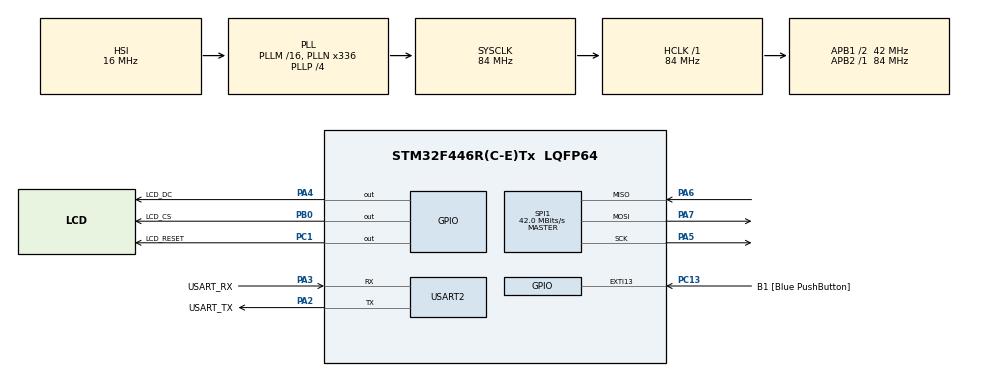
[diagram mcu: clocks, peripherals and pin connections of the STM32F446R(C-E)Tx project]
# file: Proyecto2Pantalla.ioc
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Mcu.Family=STM32F4
Mcu.Name=STM32F446R(C-E)Tx
Mcu.Package=LQFP64
NVIC.PriorityGroup=NVIC_PRIORITYGROUP_0
NVIC.USART2_IRQn=true\:0\:0\:false\:false\:true\:true\:true\:true
PA13.GPIO_Label=TMS
PA13.Mode=Serial_Wire
PA13.Signal=SYS_JTMS-SWDIO
PA14.GPIO_Label=TCK
PA14.Mode=Serial_Wire
PA14.Signal=SYS_JTCK-SWCLK
PA2.GPIO_Label=USART_TX
PA2.Mode=Asynchronous
PA2.Signal=USART2_TX
PA3.GPIO_Label=USART_RX
PA3.Mode=Asynchronous
PA3.Signal=USART2_RX
PA4.GPIO_Label=LCD_DC
PA4.Signal=GPIO_Output
PA5.Mode=Full_Duplex_Master
PA5.Signal=SPI1_SCK
PA6.Mode=Full_Duplex_Master
PA6.Signal=SPI1_MISO
PA7.Mode=Full_Duplex_Master
PA7.Signal=SPI1_MOSI
PB0.GPIO_Label=LCD_CS
PB0.Signal=GPIO_Output
PB3.GPIO_Label=SWO
PB3.Signal=SYS_JTDO-SWO
PC1.GPIO_Label=LCD_RESET
PC1.Signal=GPIO_Output
PC13.GPIO_Label=B1 [Blue PushButton]
PC13.GPIO_ModeDefaultEXTI=GPIO_MODE_IT_FALLING
PC13.Signal=GPXTI13
PC14-OSC32_IN.Mode=LSE-External-Oscillator
PC14-OSC32_IN.Signal=RCC_OSC32_IN
PC15-OSC32_OUT.Mode=LSE-External-Oscillator
PC15-OSC32_OUT.Signal=RCC_OSC32_OUT
PH0-OSC_IN.Mode=HSE-External-Oscillator
PH0-OSC_IN.Signal=RCC_OSC_IN
PH1-OSC_OUT.Mode=HSE-External-Oscillator
PH1-OSC_OUT.Signal=RCC_OSC_OUT
ProjectManager.HeapSize=0x200
ProjectManager.StackSize=0x400
ProjectManager.TargetToolchain=STM32CubeIDE
RCC.48MHZClocksFreq_Value=84000000
RCC.AHBFreq_Value=84000000
RCC.APB1CLKDivider=RCC_HCLK_DIV2
RCC.APB1Freq_Value=42000000
RCC.APB1TimFreq_Value=84000000
RCC.APB2Freq_Value=84000000
RCC.APB2TimFreq_Value=84000000
RCC.CortexFreq_Value=84000000
RCC.FLatency-AdvancedSettings=FLASH_LATENCY_2
RCC.HCLKFreq_Value=84000000
RCC.HSE_VALUE=8000000
RCC.HSI_VALUE=16000000
RCC.PLLN=336
RCC.PLLP=RCC_PLLP_DIV4
RCC.SYSCLKFreq_VALUE=84000000
RCC.SYSCLKSource=RCC_SYSCLKSOURCE_PLLCLK
RCC.USBFreq_Value=168000000
RCC.VCOOutputFreq_Value=336000000
SPI1.CalculateBaudRate=42.0 MBits/s
SPI1.Direction=SPI_DIRECTION_2LINES
SPI1.Mode=SPI_MODE_MASTER
SPI1.VirtualType=VM_MASTER
USART2.VirtualMode=VM_ASYNC
board=NUCLEO-F446RE

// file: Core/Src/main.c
/* USER CODE BEGIN Header */
/**
  ******************************************************************************
  * @file           : main.c
  * @brief          : Main program body
  ******************************************************************************
  * @attention
  *
  * Copyright (c) 2026 STMicroelectronics.
  * All rights reserved.
  *
  * This software is licensed under terms that can be found in the LICENSE file
  * in the root directory of this software component.
  * If no LICENSE file comes with this software, it is provided AS-IS.
  *
  ******************************************************************************
  */
/* USER CODE END Header */
#include "main.h"

/* USER CODE BEGIN Includes */
#include "ili9341.h"
#include "bitmaps.h"
#include <string.h>
#include <stdio.h>
/* USER CODE END Includes */

SPI_HandleTypeDef hspi1;

UART_HandleTypeDef huart2;

/* USER CODE BEGIN PV */
uint8_t bufferR[20];
uint8_t rxByte;
uint8_t rxIndex = 0;
uint8_t F_Start = 0;
uint8_t M1_F = 0;
uint8_t blqT[] = {32,192,64,16};

struct P_objeto {
	uint16_t px;
	uint8_t py;
	uint8_t w;
	uint8_t h;
};

struct P_objeto j1;
struct P_objeto j1o;
struct P_objeto blq1_j1;
struct P_objeto par1;
struct P_objeto par2;
struct P_objeto par3;
struct P_objeto par4;
struct P_objeto blq2_j1;
struct P_objeto blq3_j1;
struct P_objeto blq4_j1;
struct P_objeto blq5_j1;
struct P_objeto blq6_j1;
struct P_objeto blq7_j1;
struct P_objeto blq8_j1;
struct P_objeto blq9_j1;
struct P_objeto blq10_j1;
struct P_objeto blq11_j1;
struct P_objeto blq12_j1;
struct P_objeto blq13_j1;
struct P_objeto blq14_j1;
struct P_objeto blq15_j1;
struct P_objeto blq16_j1;
struct P_objeto blq17_j1;

/* USER CODE END PV */

void SystemClock_Config(void);
static void MX_GPIO_Init(void);
static void MX_SPI1_Init(void);
static void MX_USART2_UART_Init(void);
/* USER CODE BEGIN PFP */
uint8_t ColCheck(struct P_objeto ob1, struct P_objeto ob2);
/* USER CODE END PFP */

int main(void)
{

  /* USER CODE BEGIN 1 */

	j1.px = 128;
	j1.py = 208;
	j1.w = 16;
	j1.h = 16;

	j1o.px = 128;
	j1o.py = 208;
	j1o.w = 16;
	j1o.h = 16;

	blq1_j1.px = 32;
	blq1_j1.py = 192;
	blq1_j1.w = 64;
	blq1_j1.h = 16;

	blq2_j1.px = 64;
	blq2_j1.py = 176;
	blq2_j1.w = 64;
	blq2_j1.h = 16;

	blq3_j1.px = 64;
	blq3_j1.py = 160;
	blq3_j1.w = 16;
	blq3_j1.h = 16;

	blq4_j1.px = 32;
	blq4_j1.py = 128;
	blq4_j1.w = 16;
	blq4_j1.h = 48;

	blq5_j1.px = 48;
	blq5_j1.py = 128;
	blq5_j1.w = 16;
	blq5_j1.h = 16;

	blq6_j1.px = 80;
	blq6_j1.py = 144;
	blq6_j1.w = 48;
	blq6_j1.h = 16;

	blq7_j1.px = 112;
	blq7_j1.py = 112;
	blq7_j1.w = 16;
	blq7_j1.h = 48;

	blq8_j1.px = 64;
	blq8_j1.py = 96;
	blq8_j1.w = 16;
	blq8_j1.h = 48;

	blq9_j1.px = 32;
	blq9_j1.py = 80;
	blq9_j1.w = 16;
	blq9_j1.h = 32;

	blq10_j1.px = 48;
	blq10_j1.py = 80;
	blq10_j1.w = 16;
	blq10_j1.h = 16;

	blq11_j1.px = 80;
	blq11_j1.py = 80;
	blq11_j1.w = 16;
	blq11_j1.h = 48;

	blq12_j1.px = 96;
	blq12_j1.py = 80;
	blq12_j1.w = 32;
	blq12_j1.h = 16;

	blq13_j1.px = 112;
	blq13_j1.py = 48;
	blq13_j1.w = 16;
	blq13_j1.h = 32;

	blq14_j1.px = 128;
	blq14_j1.py = 32;
	blq14_j1.w = 16;
	blq14_j1.h = 16;

	blq15_j1.px = 32;
	blq15_j1.py = 48;
	blq15_j1.w = 64;
	blq15_j1.h = 16;

	blq16_j1.px = 32;
	blq16_j1.py = 16;
	blq16_j1.w = 80;
	blq16_j1.h = 16;

	blq17_j1.px = 80;
	blq17_j1.py = 32;
	blq17_j1.w = 16;
	blq17_j1.h = 16;

	par1.px = 0;
	par1.py = 0;
	par1.w = 144;
	par1.h = 16;

	par2.px = 0;
	par2.py = 16;
	par2.w = 16;
	par2.h = 208;

	par3.px = 0;
	par3.py = 224;
	par3.w = 144;
	par3.h = 16;

	par4.px = 144;
	par4.py = 0;
	par4.w = 32;
	par4.h = 240;
  /* USER CODE END 1 */

  /* MCU Configuration--------------------------------------------------------*/

  /* Reset of all peripherals, Initializes the Flash interface and the Systick. */
  HAL_Init();

  /* Configure the system clock */
  SystemClock_Config();

  /* Initialize all configured peripherals */
  MX_GPIO_Init();
  MX_SPI1_Init();
  MX_USART2_UART_Init();
  /* USER CODE BEGIN 2 */
  LCD_Init();

  LCD_Clear(0x00);

  LCD_Bitmap(0, 0, 320, 240, niv1);

  HAL_UART_Receive_IT(&huart2, &rxByte, 1);

  /* USER CODE END 2 */

  /* Infinite loop */
  while (1)
  {

    /* USER CODE BEGIN 3 */
	  if (F_Start == 1)
	  {
		  LCD_Bitmap(0, 0, 320, 240, israel);
		  F_Start = 0;
	  }
	  LCD_Sprite(j1.px, j1.py, 16, 16, slime, 1, 1, 0, 0);
	  if (M1_F == 1)
	  {
		  LCD_Bitmap(j1o.px, j1o.py, 16, 16, tile);
		  j1o.px = j1.px;
		  j1o.py = j1.py;
		  M1_F = 0;
	  }
  }
  /* USER CODE END 3 */
}

void SystemClock_Config(void)
{
  RCC_OscInitTypeDef RCC_OscInitStruct = {0};
  RCC_ClkInitTypeDef RCC_ClkInitStruct = {0};

  /** Configure the main internal regulator output voltage
  */
  __HAL_RCC_PWR_CLK_ENABLE();
  __HAL_PWR_VOLTAGESCALING_CONFIG(PWR_REGULATOR_VOLTAGE_SCALE3);

  /** Initializes the RCC Oscillators according to the specified parameters
  * in the RCC_OscInitTypeDef structure.
  */
  RCC_OscInitStruct.OscillatorType = RCC_OSCILLATORTYPE_HSI;
  RCC_OscInitStruct.HSIState = RCC_HSI_ON;
  RCC_OscInitStruct.HSICalibrationValue = RCC_HSICALIBRATION_DEFAULT;
  RCC_OscInitStruct.PLL.PLLState = RCC_PLL_ON;
  RCC_OscInitStruct.PLL.PLLSource = RCC_PLLSOURCE_HSI;
  RCC_OscInitStruct.PLL.PLLM = 16;
  RCC_OscInitStruct.PLL.PLLN = 336;
  RCC_OscInitStruct.PLL.PLLP = RCC_PLLP_DIV4;
  RCC_OscInitStruct.PLL.PLLQ = 2;
  RCC_OscInitStruct.PLL.PLLR = 2;
  if (HAL_RCC_OscConfig(&RCC_OscInitStruct) != HAL_OK)
  {
    Error_Handler();
  }

  /** Initializes the CPU, AHB and APB buses clocks
  */
  RCC_ClkInitStruct.ClockType = RCC_CLOCKTYPE_HCLK|RCC_CLOCKTYPE_SYSCLK
                              |RCC_CLOCKTYPE_PCLK1|RCC_CLOCKTYPE_PCLK2;
  RCC_ClkInitStruct.SYSCLKSource = RCC_SYSCLKSOURCE_PLLCLK;
  RCC_ClkInitStruct.AHBCLKDivider = RCC_SYSCLK_DIV1;
  RCC_ClkInitStruct.APB1CLKDivider = RCC_HCLK_DIV2;
  RCC_ClkInitStruct.APB2CLKDivider = RCC_HCLK_DIV1;

  if (HAL_RCC_ClockConfig(&RCC_ClkInitStruct, FLASH_LATENCY_2) != HAL_OK)
  {
    Error_Handler();
  }
}

static void MX_SPI1_Init(void)
{

  /* SPI1 parameter configuration*/
  hspi1.Instance = SPI1;
  hspi1.Init.Mode = SPI_MODE_MASTER;
  hspi1.Init.Direction = SPI_DIRECTION_2LINES;
  hspi1.Init.DataSize = SPI_DATASIZE_8BIT;
  hspi1.Init.CLKPolarity = SPI_POLARITY_LOW;
  hspi1.Init.CLKPhase = SPI_PHASE_1EDGE;
  hspi1.Init.NSS = SPI_NSS_SOFT;
  hspi1.Init.BaudRatePrescaler = SPI_BAUDRATEPRESCALER_2;
  hspi1.Init.FirstBit = SPI_FIRSTBIT_MSB;
  hspi1.Init.TIMode = SPI_TIMODE_DISABLE;
  hspi1.Init.CRCCalculation = SPI_CRCCALCULATION_DISABLE;
  hspi1.Init.CRCPolynomial = 10;
  if (HAL_SPI_Init(&hspi1) != HAL_OK)
  {
    Error_Handler();
  }

}

static void MX_USART2_UART_Init(void)
{

  huart2.Instance = USART2;
  huart2.Init.BaudRate = 115200;
  huart2.Init.WordLength = UART_WORDLENGTH_8B;
  huart2.Init.StopBits = UART_STOPBITS_1;
  huart2.Init.Parity = UART_PARITY_NONE;
  huart2.Init.Mode = UART_MODE_TX_RX;
  huart2.Init.HwFlowCtl = UART_HWCONTROL_NONE;
  huart2.Init.OverSampling = UART_OVERSAMPLING_16;
  if (HAL_UART_Init(&huart2) != HAL_OK)
  {
    Error_Handler();
  }

}

static void MX_GPIO_Init(void)
{
  GPIO_InitTypeDef GPIO_InitStruct = {0};

  /* GPIO Ports Clock Enable */
  __HAL_RCC_GPIOC_CLK_ENABLE();
  __HAL_RCC_GPIOH_CLK_ENABLE();
  __HAL_RCC_GPIOA_CLK_ENABLE();
  __HAL_RCC_GPIOB_CLK_ENABLE();

  /*Configure GPIO pin Output Level */
  HAL_GPIO_WritePin(LCD_RESET_GPIO_Port, LCD_RESET_Pin, GPIO_PIN_RESET);

  /*Configure GPIO pin Output Level */
  HAL_GPIO_WritePin(LCD_DC_GPIO_Port, LCD_DC_Pin, GPIO_PIN_RESET);

  /*Configure GPIO pin Output Level */
  HAL_GPIO_WritePin(LCD_CS_GPIO_Port, LCD_CS_Pin, GPIO_PIN_RESET);

  /*Configure GPIO pin : B1_Pin */
  GPIO_InitStruct.Pin = B1_Pin;
  GPIO_InitStruct.Mode = GPIO_MODE_IT_FALLING;
  GPIO_InitStruct.Pull = GPIO_NOPULL;
  HAL_GPIO_Init(B1_GPIO_Port, &GPIO_InitStruct);

  /*Configure GPIO pin : LCD_RESET_Pin */
  GPIO_InitStruct.Pin = LCD_RESET_Pin;
  GPIO_InitStruct.Mode = GPIO_MODE_OUTPUT_PP;
  GPIO_InitStruct.Pull = GPIO_NOPULL;
  GPIO_InitStruct.Speed = GPIO_SPEED_FREQ_LOW;
  HAL_GPIO_Init(LCD_RESET_GPIO_Port, &GPIO_InitStruct);

  /*Configure GPIO pin : LCD_DC_Pin */
  GPIO_InitStruct.Pin = LCD_DC_Pin;
  GPIO_InitStruct.Mode = GPIO_MODE_OUTPUT_PP;
  GPIO_InitStruct.Pull = GPIO_NOPULL;
  GPIO_InitStruct.Speed = GPIO_SPEED_FREQ_LOW;
  HAL_GPIO_Init(LCD_DC_GPIO_Port, &GPIO_InitStruct);

  /*Configure GPIO pin : LCD_CS_Pin */
  GPIO_InitStruct.Pin = LCD_CS_Pin;
  GPIO_InitStruct.Mode = GPIO_MODE_OUTPUT_PP;
  GPIO_InitStruct.Pull = GPIO_NOPULL;
  GPIO_InitStruct.Speed = GPIO_SPEED_FREQ_LOW;
  HAL_GPIO_Init(LCD_CS_GPIO_Port, &GPIO_InitStruct);

}

/* USER CODE BEGIN 4 */
void HAL_UART_RxCpltCallback(UART_HandleTypeDef *huart)
{
    if (huart->Instance == USART2)
    {
        bufferR[rxIndex++] = rxByte;
        uint8_t coli = 1;

        if (rxByte == '\n' || rxIndex >= sizeof(bufferR)-1)
        {
            bufferR[rxIndex] = '\0';
            bufferR[strcspn((char*)bufferR, "\r\n")] = '\0';

            if (strcmp((char*)bufferR, "start") == 0)
            {
                F_Start = 1;
            }
            if (strcmp((char*)bufferR, "aba") == 0)
            {
            	j1.py = j1.py + 16;
            }
            else if (strcmp((char*)bufferR, "arr") == 0)
            {
            	j1.py = j1.py - 16;
            }
            else if (strcmp((char*)bufferR, "izq") == 0)
            {
            	j1.px = j1.px - 16;
            }
            else if (strcmp((char*)bufferR, "der") == 0)
            {
            	j1.px = j1.px + 16;
            }

            switch (j1.py)
            {
            case 224:
                coli &= ColCheck(j1, par3);
                break;

            case 208:
            case 192:
                coli &= ColCheck(j1, blq1_j1);
                break;

            case 176:
                coli &= ColCheck(j1, blq2_j1);
                break;

            case 160:
                coli &= ColCheck(j1, blq3_j1);
                coli &= ColCheck(j1, blq4_j1);
                break;

            case 144:
                coli &= ColCheck(j1, blq4_j1);
                coli &= ColCheck(j1, blq6_j1);
                break;

            case 128:
                coli &= ColCheck(j1, blq4_j1);
                coli &= ColCheck(j1, blq5_j1);
                break;

            case 112:
                coli &= ColCheck(j1, blq7_j1);
                coli &= ColCheck(j1, blq11_j1);
                break;

            case 96:
                coli &= ColCheck(j1, blq9_j1);
                coli &= ColCheck(j1, blq11_j1);
                break;

            case 80:
            	//coli &= ColCheck(j1, blq8_j1);
                coli &= ColCheck(j1, blq9_j1);
                coli &= ColCheck(j1, blq10_j1);
                coli &= ColCheck(j1, blq11_j1);
                coli &= ColCheck(j1, blq12_j1);
                break;

            case 64:
                coli &= ColCheck(j1, blq11_j1);
                coli &= ColCheck(j1, blq13_j1);
                break;

            case 48:
                coli &= ColCheck(j1, blq13_j1);
                coli &= ColCheck(j1, blq15_j1);
                break;

            case 32:
                coli &= ColCheck(j1, blq14_j1);
                coli &= ColCheck(j1, blq17_j1);
                break;

            case 16:
                coli &= ColCheck(j1, blq16_j1);
                break;

            case 0:
                coli &= ColCheck(j1, par1);
                break;
            }
            coli &= ColCheck(j1,par2);
            coli &= ColCheck(j1,par4);

            if (coli)
            {
            	M1_F = 1;
            }
            else
            {
            	j1.px = j1o.px;
            	j1.py = j1o.py;
            }

            rxIndex = 0;
        }

        HAL_UART_Receive_IT(&huart2, &rxByte, 1);
    }
}

uint8_t ColCheck(struct P_objeto o1, struct P_objeto o2)
{
	if ((o1.px + o1.w - 1>= o2.px) && (o2.px + o2.w - 1>= o1.px) && (o1.py + o1.h - 1>= o2.py) && (o2.py + o2.h - 1>= o1.py))
	{
		return 0;
	}
	else{
		return 1;
	}
}
/* USER CODE END 4 */

void Error_Handler(void)
{
  __disable_irq();
  while (1)
  {
  }
}
